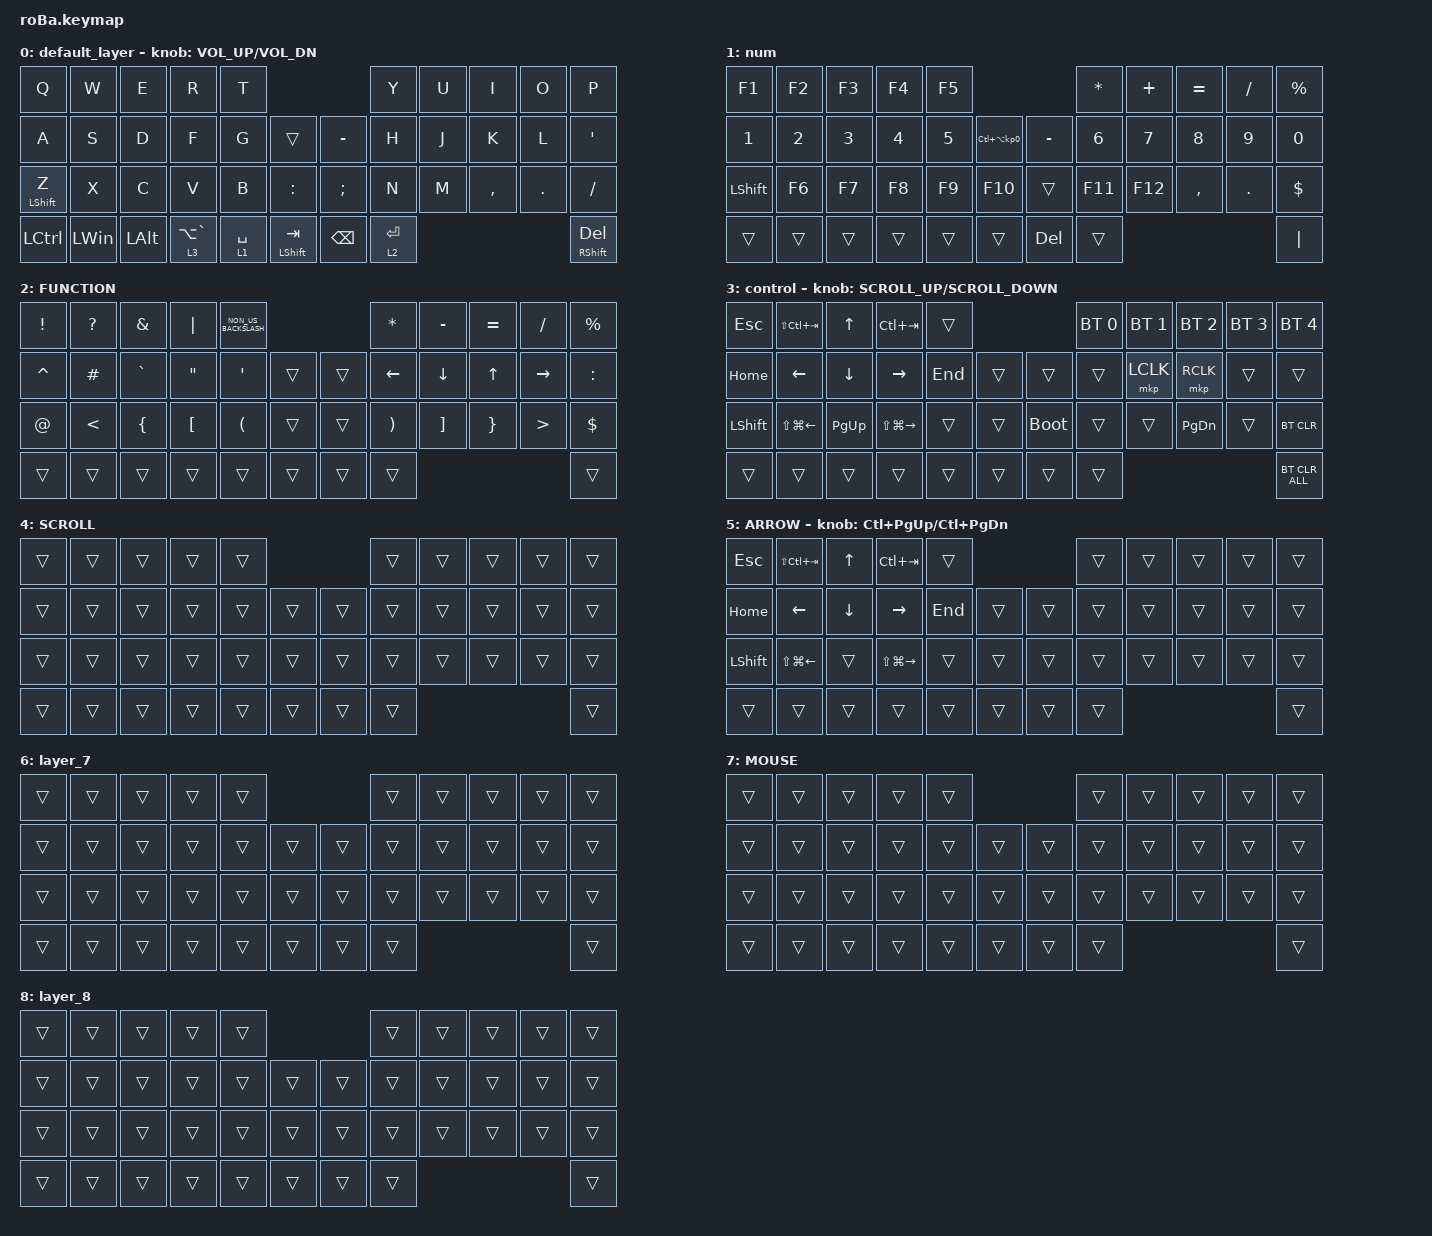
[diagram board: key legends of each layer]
#include <behaviors.dtsi>
#include <dt-bindings/zmk/bt.h>
#include <dt-bindings/zmk/keys.h>
#include <dt-bindings/zmk/pointing.h>

&mt {
    flavor = "balanced";
    quick-tap-ms = <0>;
};

&trackball {
    automouse-layer = <4>;
    scroll-layers = <5>;

    // arrows {
    //     layers = <3>;
    //     bindings =
    //         <&kp RIGHT_ARROW>,
    //         <&kp LEFT_ARROW>,
    //         <&kp UP_ARROW>,
    //         <&kp DOWN_ARROW>;
    //     tick = <10>;
    //     wait-ms = <5>;
    //     tap-ms = <5>;
    // };
};

/ {
    combos {
        compatible = "zmk,combos";

        tab {
            bindings = <&kp TAB>;
            key-positions = <11 12>;
        };

        shift_tab {
            bindings = <&kp LS(TAB)>;
            key-positions = <12 13>;
        };

        muhennkann {
            bindings = <&to_layer_0 INT_MUHENKAN>;
            key-positions = <11 10>;
        };

        double_quotation {
            bindings = <&kp DOUBLE_QUOTES>;
            key-positions = <20 21>;
        };

        eq {
            bindings = <&kp EQUAL>;
            key-positions = <24 25>;
        };
    };

    macros {
        to_layer_0: to_layer_0 {
            compatible = "zmk,behavior-macro-one-param";
            #binding-cells = <1>;
            bindings = <&to 0 &macro_param_1to1 &kp MACRO_PLACEHOLDER>;
            label = "TO_LAYER_0";
        };
    };

    behaviors {
        lt_to_layer_0: lt_to_layer_0 {
            compatible = "zmk,behavior-hold-tap";
            label = "LAYER_TAP_TO_0";
            bindings = <&mo>, <&to_layer_0>;

            #binding-cells = <2>;
            tapping-term-ms = <200>;
        };
    };

    keymap {
        compatible = "zmk,keymap";

        default_layer {
            bindings = <
&kp Q             &kp W         &kp E         &kp R                       &kp T                                               &kp Y        &kp U  &kp I      &kp O    &kp P
&kp A             &kp S         &kp D         &kp F                       &kp G        &trans                  &kp MINUS      &kp H        &kp J  &kp K      &kp L    &kp SQT
&mt LEFT_SHIFT Z  &kp X         &kp C         &kp V                       &kp B        &kp COLON               &kp SEMICOLON  &kp N        &kp M  &kp COMMA  &kp DOT  &kp SLASH
&kp LCTRL         &kp LEFT_WIN  &kp LEFT_ALT  &lt_to_layer_0 3 LA(GRAVE)  &lt 1 SPACE  &mt LEFT_SHIFT TAB      &kp BACKSPACE  &lt 2 ENTER                             &mt RIGHT_SHIFT DELETE
            >;

            sensor-bindings = <&inc_dec_kp C_VOLUME_UP C_VOL_DN>;
        };

        num {
            bindings = <
&kp F1          &kp F2        &kp F3        &kp F4        &kp F5                                          &kp ASTERISK  &kp PLUS  &kp EQUAL  &kp SLASH   &kp PERCENT
&kp NUMBER_1    &kp NUMBER_2  &kp NUMBER_3  &kp NUMBER_4  &kp N5  &kp LC(LA(KP_NUMBER_0))      &kp MINUS  &kp NUMBER_6  &kp N7    &kp N8     &kp N9      &kp N0
&kp LEFT_SHIFT  &kp F6        &kp F7        &kp F8        &kp F9  &kp F10                      &trans     &kp F11       &kp F12   &kp COMMA  &kp PERIOD  &kp DOLLAR
&trans          &trans        &trans        &trans        &trans  &trans                       &kp DEL    &trans                                         &kp PIPE
            >;
        };

        FUNCTION {
            bindings = <
&kp EXCLAMATION  &kp QUESTION   &kp AMPERSAND   &kp PIPE           &kp NON_US_BACKSLASH                      &kp ASTERISK           &kp MINUS          &kp EQUAL        &kp SLASH         &kp PERCENT
&kp CARET        &kp HASH       &kp GRAVE       &kp DOUBLE_QUOTES  &kp SQT               &trans      &trans  &kp LEFT_ARROW         &kp DOWN_ARROW     &kp UP_ARROW     &kp RIGHT_ARROW   &kp COLON
&kp AT_SIGN      &kp LESS_THAN  &kp LEFT_BRACE  &kp LEFT_BRACKET   &kp LEFT_PARENTHESIS  &trans      &trans  &kp RIGHT_PARENTHESIS  &kp RIGHT_BRACKET  &kp RIGHT_BRACE  &kp GREATER_THAN  &kp DOLLAR
&trans           &trans         &trans          &trans             &trans                &trans      &trans  &trans                                                                       &trans
            >;
        };

        control {
            bindings = <
&kp ESC         &kp LS(LC(TAB))         &kp UP_ARROW    &kp LC(TAB)              &trans                            &bt BT_SEL 0  &bt BT_SEL 1  &bt BT_SEL 2   &bt BT_SEL 3  &bt BT_SEL 4
&kp HOME        &kp LEFT_ARROW          &kp DOWN_ARROW  &kp RIGHT_ARROW          &kp END  &trans      &trans       &trans        &mkp LCLK     &mkp RCLK      &trans        &trans
&kp LEFT_SHIFT  &kp LS(LG(LEFT_ARROW))  &kp PAGE_UP     &kp LS(LG(RIGHT_ARROW))  &trans   &trans      &bootloader  &trans        &trans        &kp PAGE_DOWN  &trans        &bt BT_CLR
&trans          &trans                  &trans          &trans                   &trans   &trans      &trans       &trans                                                   &bt BT_CLR_ALL
            >;

            sensor-bindings = <&inc_dec_kp K_SCROLL_UP K_SCROLL_DOWN>;
        };

        SCROLL {
            bindings = <
&trans  &trans  &trans  &trans  &trans                      &trans  &trans  &trans  &trans  &trans
&trans  &trans  &trans  &trans  &trans  &trans      &trans  &trans  &trans  &trans  &trans  &trans
&trans  &trans  &trans  &trans  &trans  &trans      &trans  &trans  &trans  &trans  &trans  &trans
&trans  &trans  &trans  &trans  &trans  &trans      &trans  &trans                          &trans
            >;
        };

        ARROW {
            bindings = <
&kp ESCAPE      &kp LS(LC(TAB))         &kp UP_ARROW    &kp LC(TAB)              &trans                       &trans  &trans  &trans  &trans  &trans
&kp HOME        &kp LEFT_ARROW          &kp DOWN_ARROW  &kp RIGHT_ARROW          &kp END  &trans      &trans  &trans  &trans  &trans  &trans  &trans
&kp LEFT_SHIFT  &kp LS(LG(LEFT_ARROW))  &trans          &kp LS(LG(RIGHT_ARROW))  &trans   &trans      &trans  &trans  &trans  &trans  &trans  &trans
&trans          &trans                  &trans          &trans                   &trans   &trans      &trans  &trans                          &trans
            >;

            sensor-bindings = <&inc_dec_kp LC(PAGE_UP) LC(PAGE_DOWN)>;
        };

        layer_7 {
            bindings = <
&trans  &trans  &trans  &trans  &trans                      &trans  &trans  &trans  &trans  &trans
&trans  &trans  &trans  &trans  &trans  &trans      &trans  &trans  &trans  &trans  &trans  &trans
&trans  &trans  &trans  &trans  &trans  &trans      &trans  &trans  &trans  &trans  &trans  &trans
&trans  &trans  &trans  &trans  &trans  &trans      &trans  &trans                          &trans
            >;
        };

        MOUSE {
            bindings = <
&trans  &trans  &trans  &trans  &trans                      &trans  &trans  &trans  &trans  &trans
&trans  &trans  &trans  &trans  &trans  &trans      &trans  &trans  &trans  &trans  &trans  &trans
&trans  &trans  &trans  &trans  &trans  &trans      &trans  &trans  &trans  &trans  &trans  &trans
&trans  &trans  &trans  &trans  &trans  &trans      &trans  &trans                          &trans
            >;
        };

        layer_8 {
            bindings = <
&trans  &trans  &trans  &trans  &trans                      &trans  &trans  &trans  &trans  &trans
&trans  &trans  &trans  &trans  &trans  &trans      &trans  &trans  &trans  &trans  &trans  &trans
&trans  &trans  &trans  &trans  &trans  &trans      &trans  &trans  &trans  &trans  &trans  &trans
&trans  &trans  &trans  &trans  &trans  &trans      &trans  &trans                          &trans
            >;
        };
    };
};
